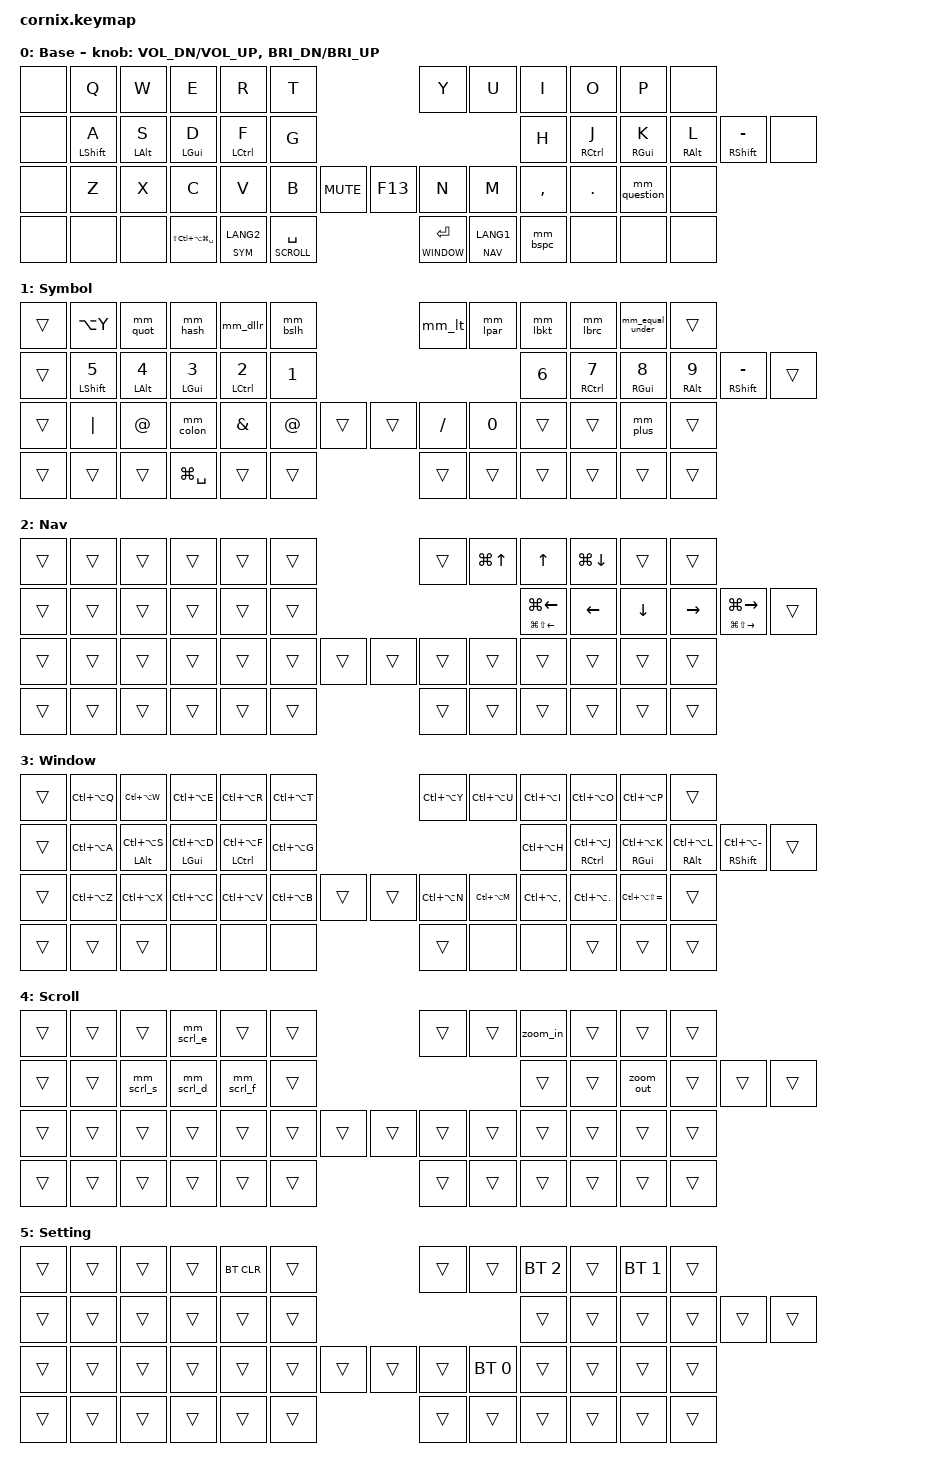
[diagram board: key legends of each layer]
/*
 * Copyright (c) 2020 The ZMK Contributors
 *
 * SPDX-License-Identifier: MIT
 */

#include "zmk-helpers/helper.h"
#include "includes/cornix54.h"

// Homerow Mods の設定
#define HM_TAPPING_TERM 180

// レイヤー定義
#define BASE 0
#define SYM 1
#define NAV 2
#define WINDOW 3
#define SCROLL 4
#define SETTING 5

// キー位置の定義（Homerow Mods 用）
#define KEYS_L LT0 LT1 LT2 LT3 LT4 LT5 LM0 LM1 LM2 LM3 LM4 LM5 LB0 LB1 LB2 LB3 LB4 LB5  // 左手
#define KEYS_R RT0 RT1 RT2 RT3 RT4 RT5 RM0 RM1 RM2 RM3 RM4 RM5 RB0 RB1 RB2 RB3 RB4 RB5  // 右手
#define THUMBS LH1 LH0 RH0 RH1

#include <behaviors.dtsi>
#include <dt-bindings/zmk/bt.h>
#include <dt-bindings/zmk/keys.h>
#include <dt-bindings/zmk/mouse.h>

// マウススクロールの挙動調整（加速なし、即反応）
&msc {
    acceleration-exponent = <0>;
    time-to-max-speed-ms = <0>;
    delay-ms = <0>;
};

// レイヤータップのタッピングターム調整
&lt {
    tapping-term-ms = <180>;
};

/ {
    macros {
        // ・（中黒）入力: LANG1 → / → Enter
        nakaguro: nakaguro {
            compatible = "zmk,behavior-macro";
            #binding-cells = <0>;
            bindings = <&kp LANG1 &kp FSLH &kp ENTER>;
        };

        // suiei1213 入力
        macro_suiei: macro_suiei {
            compatible = "zmk,behavior-macro";
            #binding-cells = <0>;
            bindings = <&kp S &kp U &kp I &kp E &kp I &kp N1 &kp N2 &kp N1 &kp N3>;
        };

        // Cmd+上スクロール（押している間続く）: ピンチイン（ズームイン）
        zoom_in: zoom_in {
            compatible = "zmk,behavior-macro";
            #binding-cells = <0>;
            bindings
                = <&macro_press &kp LGUI &msc SCRL_DOWN>
                , <&macro_pause_for_release>
                , <&macro_release &msc SCRL_DOWN &kp LGUI>;
        };

        // レイヤー有効化 + Ctrl/Option 押しっぱなし（押している間続く）
        // パラメータ = 有効化するレイヤー番号
        // Axis 側で「Ctrl+Option 長押し」を検知させるため、レイヤー中は実際に修飾キーを送り続ける
        layer_ctrl_alt: layer_ctrl_alt {
            compatible = "zmk,behavior-macro-one-param";
            #binding-cells = <1>;
            wait-ms = <0>;
            tap-ms = <0>;
            bindings
                = <&macro_param_1to1>
                , <&macro_press &mo MACRO_PLACEHOLDER>
                , <&macro_press &kp LCTRL &kp LALT>
                , <&macro_pause_for_release>
                , <&macro_release &kp LALT &kp LCTRL>
                , <&macro_param_1to1>
                , <&macro_release &mo MACRO_PLACEHOLDER>;
        };

        // Cmd+下スクロール（押している間続く）: ピンチアウト（ズームアウト）
        zoom_out: zoom_out {
            compatible = "zmk,behavior-macro";
            #binding-cells = <0>;
            bindings
                = <&macro_press &kp LGUI &msc SCRL_UP>
                , <&macro_pause_for_release>
                , <&macro_release &msc SCRL_UP &kp LGUI>;
        };
    };

    combos {
        compatible = "zmk,combos";

        // WR → TAB
        combo_tab_l {
            timeout-ms = <45>;
            key-positions = <2 4>;  // W, R
            bindings = <&kp TAB>;
            layers = <BASE SYM NAV SCROLL SETTING>;  // WINDOW では無効
        };

        // UO → TAB
        combo_tab_r {
            timeout-ms = <45>;
            key-positions = <7 9>;  // U, O
            bindings = <&kp TAB>;
            layers = <BASE SYM NAV SCROLL SETTING>;  // WINDOW では無効
        };

        // DF → 左クリック
        combo_lclick {
            timeout-ms = <45>;
            key-positions = <15 16>;  // D, F
            bindings = <&mkp LCLK>;
            layers = <BASE SYM NAV>;
        };

        // DS → 右クリック
        combo_rclick {
            timeout-ms = <45>;
            key-positions = <14 15>;  // S, D
            bindings = <&mkp RCLK>;
            layers = <BASE SYM NAV>;
        };

        // JK → 左クリック
        combo_lclick_r {
            timeout-ms = <45>;
            key-positions = <19 20>;  // J, K
            bindings = <&mkp LCLK>;
            layers = <BASE SYM NAV>;
        };

        // KL → 右クリック
        combo_rclick_r {
            timeout-ms = <45>;
            key-positions = <20 21>;  // K, L
            bindings = <&mkp RCLK>;
            layers = <BASE SYM NAV>;
        };

        // SDFKJL → suiei1213
        combo_suiei {
            timeout-ms = <45>;
            key-positions = <14 15 16 19 20 21>;  // S, D, F, J, K, L
            bindings = <&macro_suiei>;
            layers = <BASE>;
        };

        // FS → F15
        combo_f15_l {
            timeout-ms = <45>;
            key-positions = <14 16>;  // S, F
            bindings = <&kp F15>;
            layers = <BASE SYM NAV SCROLL SETTING>;  // WINDOW では無効
        };

        // JL → F15
        combo_f15_r {
            timeout-ms = <45>;
            key-positions = <19 21>;  // J, L
            bindings = <&kp F15>;
            layers = <BASE SYM NAV SCROLL SETTING>;  // WINDOW では無効
        };

        // FDS → F16
        combo_f16_l {
            timeout-ms = <45>;
            key-positions = <14 15 16>;  // S, D, F
            bindings = <&kp F16>;
            layers = <BASE SYM NAV SCROLL SETTING>;  // WINDOW では無効
        };

        // JKL → F16
        combo_f16_r {
            timeout-ms = <45>;
            key-positions = <19 20 21>;  // J, K, L
            bindings = <&kp F16>;
            layers = <BASE SYM NAV SCROLL SETTING>;  // WINDOW では無効
        };

        // FA → F17
        combo_f17_l {
            timeout-ms = <45>;
            key-positions = <13 16>;  // A, F
            bindings = <&kp F17>;
            layers = <BASE SYM NAV SCROLL SETTING>;  // WINDOW では無効
        };

        // J- → F17
        combo_f17_r {
            timeout-ms = <45>;
            key-positions = <19 22>;  // J, -
            bindings = <&kp F17>;
            layers = <BASE SYM NAV SCROLL SETTING>;  // WINDOW では無効
        };

        // WE → ESC
        combo_esc_l {
            timeout-ms = <45>;
            key-positions = <2 3>;  // W, E
            bindings = <&kp ESC>;
            layers = <BASE SYM NAV SCROLL SETTING>;  // WINDOW では無効
        };

        // IO → ESC
        combo_esc_r {
            timeout-ms = <45>;
            key-positions = <8 9>;  // I, O
            bindings = <&kp ESC>;
            layers = <BASE SYM NAV SCROLL SETTING>;  // WINDOW では無効
        };

        // LANG2+LANG1 タップ → Command + Option + Space、ホールド → Setting レイヤー
        combo_setting_hold {
            timeout-ms = <45>;
            key-positions = <42 45>;  // LANG2(LH1), LANG1(RH1)
            bindings = <&lt SETTING LA(LG(SPACE))>;
            layers = <BASE SYM NAV SCROLL SETTING>;  // WINDOW では無効
        };

    };

    behaviors {
        // 左手用 Homerow Mods（Ctrl, Option, Cmd）
        hm_l: homerow_mods_left {
            compatible = "zmk,behavior-hold-tap";
            #binding-cells = <2>;
            bindings = <&kp>, <&kp>;

            flavor = "tap-preferred";
            tapping-term-ms = <HM_TAPPING_TERM>;
            quick-tap-ms = <200>;

            hold-trigger-key-positions = <THUMBS>;
            hold-trigger-on-release;
        };

        // 左手 Shift 専用 Homerow Mods
        hm_l_shift: homerow_mods_left_shift {
            compatible = "zmk,behavior-hold-tap";
            #binding-cells = <2>;
            bindings = <&kp>, <&kp>;

            flavor = "tap-preferred";
            tapping-term-ms = <HM_TAPPING_TERM>;
            quick-tap-ms = <200>;

            hold-trigger-key-positions = <THUMBS>;
            hold-trigger-on-release;
        };

        // 右手用 Homerow Mods（Cmd, Option, Ctrl）
        hm_r: homerow_mods_right {
            compatible = "zmk,behavior-hold-tap";
            #binding-cells = <2>;
            bindings = <&kp>, <&kp>;

            flavor = "tap-preferred";
            tapping-term-ms = <HM_TAPPING_TERM>;
            quick-tap-ms = <200>;

            hold-trigger-key-positions = <THUMBS>;
            hold-trigger-on-release;
        };

        // 右ホーム外側キー用（タップ: |/Shiftで_, ホールド: RALT）
        hm_r_ralt_pipe: homerow_mods_right_ralt_pipe {
            compatible = "zmk,behavior-hold-tap";
            #binding-cells = <2>;
            bindings = <&kp>, <&mm_pipe>;

            flavor = "tap-preferred";
            tapping-term-ms = <HM_TAPPING_TERM>;
            quick-tap-ms = <200>;

            hold-trigger-key-positions = <THUMBS>;
            hold-trigger-on-release;
        };

        // 右ホーム外側キー用（タップ: -/Shiftで~, ホールド: Shift）
        hm_r_shift: homerow_mods_right_shift_minus {
            compatible = "zmk,behavior-hold-tap";
            #binding-cells = <2>;
            bindings = <&kp>, <&mm_minus>;

            flavor = "tap-preferred";
            tapping-term-ms = <HM_TAPPING_TERM>;
            quick-tap-ms = <200>;

            hold-trigger-key-positions = <THUMBS>;
            hold-trigger-on-release;
        };

        // Ctrl/Option 付きレイヤータップ（&lt の代わり）
        // タップ: 第2引数のキー / ホールド: レイヤー有効化 + Ctrl+Option 押しっぱなし
        // flavor と tapping-term は ZMK 標準の &lt と同じ（tap-preferred / 180ms）にして
        // タップ時の入力の出やすさを &lt から変えない
        lt_ctrl_alt: layer_tap_ctrl_alt {
            compatible = "zmk,behavior-hold-tap";
            #binding-cells = <2>;
            bindings = <&layer_ctrl_alt>, <&kp>;

            flavor = "tap-preferred";
            tapping-term-ms = <180>;
        };

        // Nav用 hold-tap（タップで移動、ホールドで選択）
        ht_nav: hold_tap_nav {
            compatible = "zmk,behavior-hold-tap";
            #binding-cells = <2>;
            bindings = <&kp>, <&kp>;
            flavor = "balanced";
            tapping-term-ms = <180>;
        };

        // mod-morph: ' → Shift: "
        mm_quot: mod_morph_quote {
            compatible = "zmk,behavior-mod-morph";
            #binding-cells = <0>;
            bindings = <&kp SQT>, <&kp DQT>;
            mods = <(MOD_LSFT|MOD_RSFT)>;
        };

        // mod-morph: # → Shift: *
        mm_hash: mod_morph_hash {
            compatible = "zmk,behavior-mod-morph";
            #binding-cells = <0>;
            bindings = <&kp HASH>, <&kp ASTRK>;
            mods = <(MOD_LSFT|MOD_RSFT)>;
        };

        // mod-morph: $ → Shift: %
        mm_dllr: mod_morph_dollar {
            compatible = "zmk,behavior-mod-morph";
            #binding-cells = <0>;
            bindings = <&kp DLLR>, <&kp PRCNT>;
            mods = <(MOD_LSFT|MOD_RSFT)>;
        };

        // mod-morph: \ → Shift: `
        mm_bslh: mod_morph_backslash {
            compatible = "zmk,behavior-mod-morph";
            #binding-cells = <0>;
            bindings = <&kp BSLH>, <&kp GRAVE>;
            mods = <(MOD_LSFT|MOD_RSFT)>;
        };

        // mod-morph: < → Shift: >
        mm_lt: mod_morph_lt {
            compatible = "zmk,behavior-mod-morph";
            #binding-cells = <0>;
            bindings = <&kp LT>, <&kp GT>;
            mods = <(MOD_LSFT|MOD_RSFT)>;
        };

        // mod-morph: ( → Shift: )
        mm_lpar: mod_morph_lpar {
            compatible = "zmk,behavior-mod-morph";
            #binding-cells = <0>;
            bindings = <&kp LPAR>, <&kp RPAR>;
            mods = <(MOD_LSFT|MOD_RSFT)>;
        };

        // mod-morph: [ → Shift: ]
        mm_lbkt: mod_morph_lbkt {
            compatible = "zmk,behavior-mod-morph";
            #binding-cells = <0>;
            bindings = <&kp LBKT>, <&kp RBKT>;
            mods = <(MOD_LSFT|MOD_RSFT)>;
        };

        // mod-morph: { → Shift: }
        mm_lbrc: mod_morph_lbrc {
            compatible = "zmk,behavior-mod-morph";
            #binding-cells = <0>;
            bindings = <&kp LBRC>, <&kp RBRC>;
            mods = <(MOD_LSFT|MOD_RSFT)>;
        };

        // mod-morph: | → Shift: _
        mm_pipe: mod_morph_pipe {
            compatible = "zmk,behavior-mod-morph";
            #binding-cells = <0>;
            bindings = <&kp PIPE>, <&kp UNDER>;
            mods = <(MOD_LSFT|MOD_RSFT)>;
        };

        // mod-morph: : → Shift: ;
        mm_colon: mod_morph_colon {
            compatible = "zmk,behavior-mod-morph";
            #binding-cells = <0>;
            bindings = <&kp COLON>, <&kp SEMI>;
            mods = <(MOD_LSFT|MOD_RSFT)>;
        };

        // mod-morph: = → Shift: ~
        mm_equal: mod_morph_equal {
            compatible = "zmk,behavior-mod-morph";
            #binding-cells = <0>;
            bindings = <&kp EQUAL>, <&kp TILDE>;
            mods = <(MOD_LSFT|MOD_RSFT)>;
        };

        // mod-morph: = → Shift: _
        mm_equal_under: mod_morph_equal_under {
            compatible = "zmk,behavior-mod-morph";
            #binding-cells = <0>;
            bindings = <&kp EQUAL>, <&kp UNDER>;
            mods = <(MOD_LSFT|MOD_RSFT)>;
        };

        // mod-morph: - → Shift: ~
        mm_minus: mod_morph_minus {
            compatible = "zmk,behavior-mod-morph";
            #binding-cells = <0>;
            bindings = <&kp MINUS>, <&kp TILDE>;
            mods = <(MOD_LSFT|MOD_RSFT)>;
        };

        // mod-morph: ? → Shift: !
        mm_question: mod_morph_question {
            compatible = "zmk,behavior-mod-morph";
            #binding-cells = <0>;
            bindings = <&kp LS(FSLH)>, <&kp LS(N1)>;
            mods = <(MOD_LSFT|MOD_RSFT)>;
        };

        // mod-morph: + → Shift: ^
        mm_plus: mod_morph_plus {
            compatible = "zmk,behavior-mod-morph";
            #binding-cells = <0>;
            bindings = <&kp PLUS>, <&kp CARET>;
            mods = <(MOD_LSFT|MOD_RSFT)>;
        };

        // mod-morph: Backspace → Shift: Delete
        mm_bspc: mod_morph_bspc {
            compatible = "zmk,behavior-mod-morph";
            #binding-cells = <0>;
            bindings = <&kp BACKSPACE>, <&kp DELETE>;
            mods = <(MOD_LSFT|MOD_RSFT)>;
        };

        // mod-morph: Cmd+Tab → Shift: Option+Tab (window layer)
        mm_window_tab: mod_morph_window_tab {
            compatible = "zmk,behavior-mod-morph";
            #binding-cells = <0>;
            bindings = <&kp LG(TAB)>, <&kp LA(TAB)>;
            mods = <(MOD_LSFT|MOD_RSFT)>;
        };

        // mod-morph: Cmd+- → Shift: Option+Cmd+- (ズームアウト)
        mm_short_minus: mod_morph_short_minus {
            compatible = "zmk,behavior-mod-morph";
            #binding-cells = <0>;
            bindings = <&kp LG(MINUS)>, <&kp LA(LG(MINUS))>;
            mods = <(MOD_LSFT|MOD_RSFT)>;
        };

        // mod-morph: Cmd++ → Shift: Option+Cmd+= (ズームイン)
        mm_short_plus: mod_morph_short_plus {
            compatible = "zmk,behavior-mod-morph";
            #binding-cells = <0>;
            bindings = <&kp LG(PLUS)>, <&kp LA(LG(EQUAL))>;
            mods = <(MOD_LSFT|MOD_RSFT)>;
        };


        // ショートカットレイヤー D位置: Shift時のhold-tap
        // タップ→Cmd+Shift+Opt+V、ホールド→Cmd+Ctrl+V
        ht_d_shift: hold_tap_d_shift {
            compatible = "zmk,behavior-hold-tap";
            #binding-cells = <2>;
            bindings = <&kp>, <&kp>;
            flavor = "balanced";
            tapping-term-ms = <180>;
        };

        // D位置 mod-morph: 通常→Cmd+V/Cmd+Shift+V、Shift→Cmd+Shift+Opt+V/Cmd+Ctrl+V
        mm_short_d: mod_morph_short_d {
            compatible = "zmk,behavior-mod-morph";
            #binding-cells = <0>;
            bindings = <&ht_nav LG(LS(V)) LG(V)>, <&ht_d_shift LC(LG(V)) LG(LS(LA(V)))>;
            mods = <(MOD_LSFT|MOD_RSFT)>;
        };

        // ショートカットレイヤー F位置: Shift時のhold-tap
        // タップ→Cmd+Shift+C、ホールド→Cmd+Shift+2
        ht_f_shift: hold_tap_f_shift {
            compatible = "zmk,behavior-hold-tap";
            #binding-cells = <2>;
            bindings = <&kp>, <&kp>;
            flavor = "balanced";
            tapping-term-ms = <180>;
        };

        // F位置 mod-morph: 通常→Cmd+C/Cmd+Shift+4、Shift→Cmd+Shift+C/Cmd+Shift+2
        mm_short_f: mod_morph_short_f {
            compatible = "zmk,behavior-mod-morph";
            #binding-cells = <0>;
            bindings = <&ht_nav LG(LS(N4)) LG(C)>, <&ht_f_shift LG(LS(N2)) LG(LS(C))>;
            mods = <(MOD_LSFT|MOD_RSFT)>;
        };

        // --- スクロールレイヤー用 mod-morph ---

        // E: Scroll Up (Natural: Down signal) / Shift: Top (Cmd+Up)
        mm_scrl_e: mod_morph_scroll_e {
            compatible = "zmk,behavior-mod-morph";
            #binding-cells = <0>;
            bindings = <&msc SCRL_DOWN>, <&kp LG(UP)>;
            mods = <(MOD_LSFT|MOD_RSFT)>;
        };

        // D: Scroll Down (Natural: Up signal) / Shift: Bottom (Cmd+Down)
        mm_scrl_d: mod_morph_scroll_d {
            compatible = "zmk,behavior-mod-morph";
            #binding-cells = <0>;
            bindings = <&msc SCRL_UP>, <&kp LG(DOWN)>;
            mods = <(MOD_LSFT|MOD_RSFT)>;
        };

        // S: Scroll Left (Natural: Right signal) / Shift: Line Start (Cmd+Left)
        mm_scrl_s: mod_morph_scroll_s {
            compatible = "zmk,behavior-mod-morph";
            #binding-cells = <0>;
            bindings = <&msc SCRL_RIGHT>, <&kp LG(LEFT)>;
            mods = <(MOD_LSFT|MOD_RSFT)>;
        };

        // F: Scroll Right (Natural: Left signal) / Shift: Line End (Cmd+Right)
        mm_scrl_f: mod_morph_scroll_f {
            compatible = "zmk,behavior-mod-morph";
            #binding-cells = <0>;
            bindings = <&msc SCRL_LEFT>, <&kp LG(RIGHT)>;
            mods = <(MOD_LSFT|MOD_RSFT)>;
        };
    };

    keymap {
        compatible = "zmk,keymap";

        default_layer {
            display-name = "Base";

            // QWERTY + Homerow Mods
            // ------------------------------------------------------------------------------------------
            // | none |  Q  |  W  |  E  |  R  |  T  |           |  Y  |  U  |  I  |  O  |  P  | none |
            // | none | A/⇧ | S/⌥ | D/⌘ | F/⌃ |  G  |           |  H  | J/⌃ | K/⌘ | L/⌥ |-/⇧ | none |
            // | none |  Z  |  X  |  C  |  V  |  B  |     |     |  N  |  M  |  、 |  。 | ?/! | none |
            //             | TK  |LANG2| SPC |           | ENT |LANG1| BKSP|

            bindings = <
&none     &kp Q            &kp W            &kp E            &kp R  &kp T                    &kp Y      &kp U          &kp I            &kp O            &kp P                &none
&none     &hm_l_shift LSHFT A    &hm_l LALT S     &hm_l LGUI D     &hm_l LCTRL F  &kp G          &kp H      &hm_r RCTRL J  &hm_r RGUI K     &hm_r RALT L     &hm_r_shift RSHFT MINUS  &none
&none     &kp Z            &kp X            &kp C            &kp V  &kp B      &kp C_MUTE  &kp F13  &kp N      &kp M          &kp COMMA        &kp PERIOD       &mm_question         &none
&none     &none            &none            &kp LS(LC(LA(LG(SPACE))))         &lt SYM LANG2  &lt SCROLL SPACE          &lt_ctrl_alt WINDOW ENTER  &lt NAV LANG1  &mm_bspc       &none          &none                &none
            >;

            sensor-bindings = <&inc_dec_kp C_VOL_DN C_VOL_UP &inc_dec_kp C_BRI_DN C_BRI_UP>;
        };

        symbol_layer {
            display-name = "Symbol";

            // 記号レイヤー
            // ------------------------------------------------------------------------------------------
            // |  ¥  | '/" | #/* | $/% | \/` |           | </>  | (/)  | [/]  | {/}  | =/_ | --- |
            // | --- |  5  |  4  |  3  |  2  |  1  |           |  6  |  7  |  8  |  9  | --- | --- |
            // |  |  |  @  | --- |  :  |  &  |  @  | --- |  /  | --- |  0  |  ,  | --- | +/^ | --- |
            //             |Cmd+SPC| [L] | --- |           | --- | --- | --- |

            bindings = <
&trans    &kp LA(Y)        &mm_quot         &mm_hash         &mm_dllr  &mm_bslh               &mm_lt     &mm_lpar  &mm_lbkt       &mm_lbrc         &mm_equal_under      &trans
&trans    &hm_l_shift LSHFT N5   &hm_l LALT N4    &hm_l LGUI N3    &hm_l LCTRL N2  &kp N1           &kp N6     &hm_r RCTRL N7  &hm_r RGUI N8    &hm_r RALT N9        &hm_r_shift RSHFT MINUS  &trans
&trans    &kp PIPE         &kp AT           &mm_colon        &kp AMPS  &kp AT     &trans &trans &kp FSLH     &kp N0  &trans         &trans           &mm_plus             &trans
&trans    &trans           &trans           &kp LG(SPACE)    &trans  &trans                   &trans     &trans  &trans           &trans           &trans               &trans
            >;
        };

        nav_layer {
            display-name = "Nav";

            // カーソルレイヤー
            // ------------------------------------------------------------------------------------------
            // | --- | --- | --- | --- | --- | --- |           | --- |Cmd↑ |  ↑  |Cmd↓ | --- | --- |
            // | --- | --- | --- | --- | --- | --- |           |  ←  |  ↓  |  →  | --- | --- | --- |
            // | --- | --- | --- | --- | --- | --- |     |     | --- | --- | --- | --- | --- | --- |
            //             | --- | --- | --- |           | --- | [L] | --- |

            bindings = <
&trans    &trans           &trans           &trans           &trans  &trans                   &trans     &kp LG(UP)  &kp UP       &kp LG(DOWN)     &trans               &trans
&trans    &trans           &trans           &trans           &trans  &trans                   &ht_nav LG(LS(LEFT)) LG(LEFT)  &kp LEFT  &kp DOWN  &kp RIGHT  &ht_nav LG(LS(RIGHT)) LG(RIGHT)  &trans
&trans    &trans           &trans           &trans           &trans  &trans     &trans &trans &trans     &trans      &trans       &trans           &trans               &trans
&trans    &trans           &trans           &trans           &trans  &trans                   &trans     &trans      &trans       &trans           &trans               &trans
            >;
        };

        window_layer {
            display-name = "Window";

            // ウィンドウ操作レイヤー（Ctrl+Alt + 英文字）
            // レイヤーキー長押し中は Ctrl+Option が押しっぱなしになるため、
            // 素通し（&trans）にすると下のレイヤーのキーに Ctrl+Option が乗ってしまう。
            // そのため未割り当てのキーは Ctrl+Alt+文字 を明示し、親指キーは &none で無効化する。
            // ------------------------------------------------------------------------------------------
            // | --- |C+A+Q|C+A+W|C+A+E|C+A+R|C+A+T|           |C+A+Y|C+A+U|C+A+I|C+A+O|C+A+P| --- |
            // | --- |C+A+A|C+A+S/⌥|C+A+D/⌘|C+A+F/⌃|C+A+G|     |C+A+H|C+A+J/⌃|C+A+K/⌘|C+A+L/⌥|C+A+-/⇧| --- |
            // | --- |C+A+Z|C+A+X|C+A+C|C+A+V|C+A+B| --- | --- |C+A+N|C+A+M|C+A+, |C+A+. |C+A+S+=| --- |
            //             |無効 |無効 |無効 |           | [L] |無効 |無効 |

            bindings = <
&trans    &kp LC(LA(Q))    &kp LC(LA(W))    &kp LC(LA(E))              &kp LC(LA(R))            &kp LC(LA(T))            &kp LC(LA(Y))       &kp LC(LA(U))       &kp LC(LA(I))   &kp LC(LA(O))        &kp LC(LA(P))        &trans
&trans    &kp LC(LA(A))    &hm_l LALT LC(LA(S))    &hm_l LGUI LC(LA(D))    &hm_l LCTRL LC(LA(F))   &kp LC(LA(G))            &kp LC(LA(H))       &hm_r RCTRL LC(LA(J))    &hm_r RGUI LC(LA(K))   &hm_r RALT LC(LA(L))    &hm_r RSHFT LC(LA(MINUS))    &trans
&trans    &kp LC(LA(Z))    &kp LC(LA(X))    &kp LC(LA(C))              &kp LC(LA(V))            &kp LC(LA(B))  &trans &trans &kp LC(LA(N))   &kp LC(LA(M))       &kp LC(LA(COMMA)) &kp LC(LA(PERIOD))   &kp LC(LA(LS(EQUAL))) &trans
&trans    &trans           &trans           &none                      &none                    &none                    &trans              &none               &none           &trans               &trans               &trans
            >;
        };

        scroll_layer {
            display-name = "Scroll";

            // スクロールレイヤー
            // ------------------------------------------------------------------------------------------
            // | --- | --- | --- |  E↑ | --- | --- |           | --- | --- |Iズーム+| --- | --- | --- |
            // | --- | --- | S←  |  D↓ | F→  | --- |           | --- | --- |Kズーム-| --- | --- | --- |
            // | --- | --- | --- | --- | --- | --- |     |     | --- | --- | --- | --- | --- | --- |
            //             | --- | --- | [L] |           | --- | --- | --- |

            bindings = <
&trans    &trans           &trans           &mm_scrl_e       &trans  &trans                   &trans     &trans  &zoom_in     &trans           &trans               &trans
&trans    &trans           &mm_scrl_s       &mm_scrl_d       &mm_scrl_f       &trans          &trans     &trans  &zoom_out    &trans           &trans               &trans
&trans    &trans           &trans           &trans           &trans  &trans     &trans &trans &trans     &trans  &trans       &trans           &trans               &trans
&trans    &trans           &trans           &trans           &trans  &trans                   &trans     &trans  &trans       &trans           &trans               &trans
            >;
        };

        setting_layer {
            display-name = "Setting";

            // 設定レイヤー（LANG2+LANG1 同時押しでトグル）
            // ------------------------------------------------------------------------------------------
            // | --- | --- | --- | --- | BT.R | --- |           | --- | BT.2| --- | BT.1| --- |
            // | --- | --- | --- | --- | --- | --- |           | --- | --- | --- | --- | --- |
            // | --- | --- | --- | --- | --- | --- |     |     | --- | BT.0| --- | --- | --- | --- |
            //             | --- | --- | --- |           | --- | --- | --- |

            bindings = <
&trans    &trans           &trans           &trans           &bt BT_CLR  &trans               &trans     &trans  &bt BT_SEL 2 &trans           &bt BT_SEL 1         &trans
&trans    &trans           &trans           &trans           &trans  &trans                   &trans     &trans  &trans       &trans           &trans               &trans
&trans    &trans           &trans           &trans           &trans  &trans  &trans &trans    &trans     &bt BT_SEL 0  &trans             &trans           &trans               &trans
&trans    &trans           &trans           &trans           &trans  &trans                   &trans     &trans  &trans       &trans           &trans               &trans
            >;
        };
    };
};
